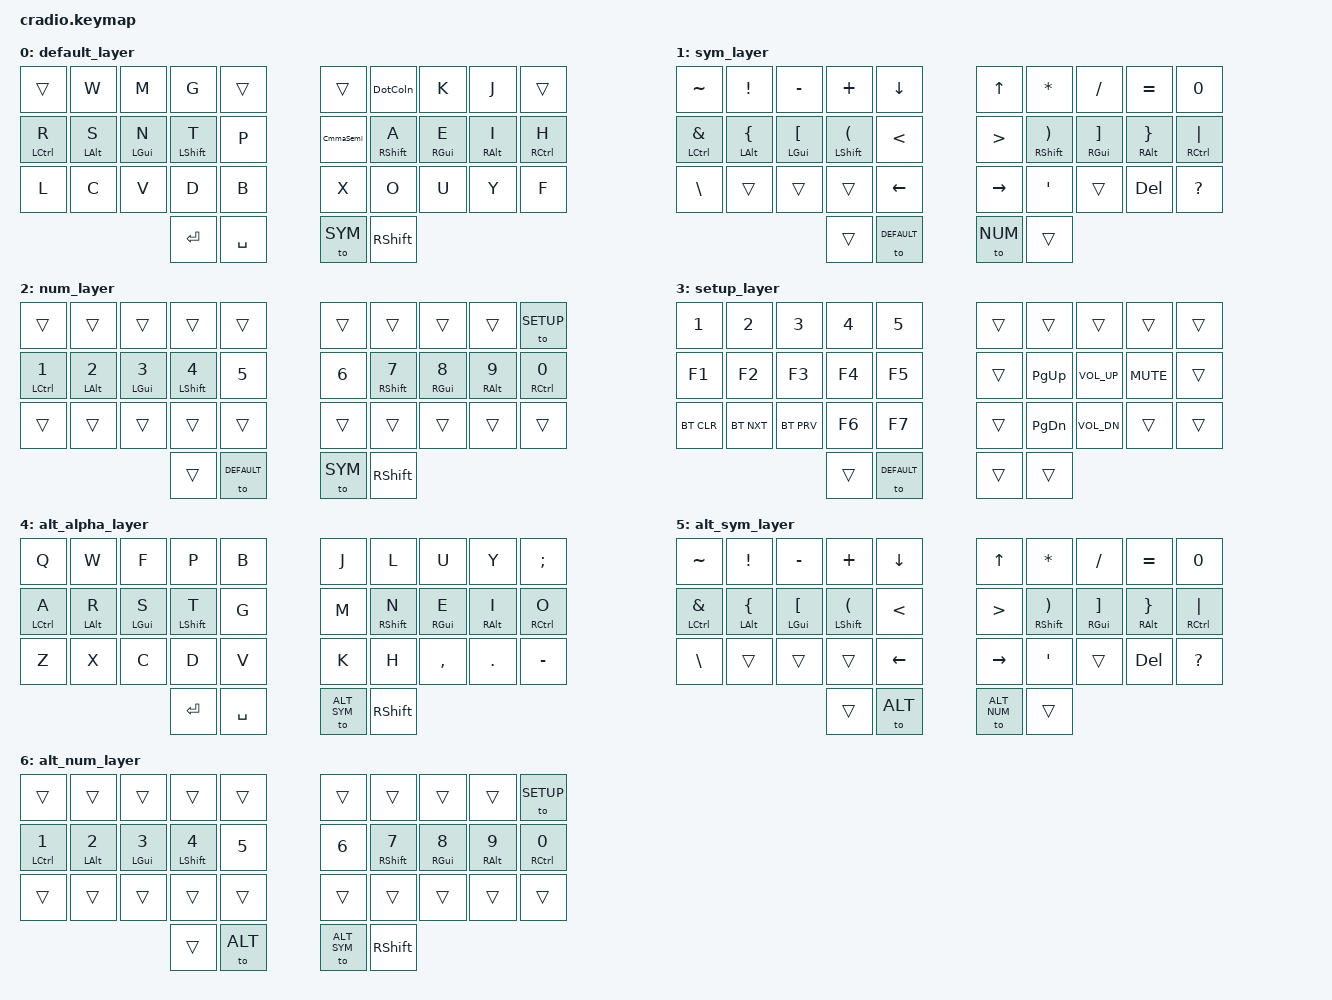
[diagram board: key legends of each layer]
/*
 * Copyright (c) 2020 The ZMK Contributors
 *
 * SPDX-License-Identifier: MIT
 */

#include <behaviors.dtsi>
#include <dt-bindings/zmk/keys.h>
#include <dt-bindings/zmk/bt.h>

#include "../helper.h"
#include "../keypos_34keys.h"

#define QUICK_TAP_MS 175

#define DEFAULT 0
#define SYM 1
#define NUM 2
#define SETUP 3
#define ALT 4
#define ALT_SYM 5
#define ALT_NUM 6

&mt {
    flavor = "tap-preferred";
    tapping_term_ms = <230>;
};

#include "my_behaviors.dtsi"

/ { 

	#include "my_macros.dtsi"
	#include "my_combos.dtsi"

    keymap {
        compatible = "zmk,keymap";
                
       	default_layer {
			bindings = <
				&trans &kp W &kp M &kp G &trans 						       &trans &DotColn  &kp K    &kp J   &trans
				&hml LCTRL R &hml LALT S &hml LGUI N &hmls LSHFT T &kp P 			   &CmmaSemi &hmrs RSHFT A &hmr RGUI E &hmr RALT I &hmr RCTRL H
				&kp L &kp C &kp V &kp D &kp B				               &kp X &kp O  &kp U &kp Y &kp F
								&kp RET &kp SPACE  				&to SYM &kp RSHIFT  
			>;
		};

		sym_layer {
			bindings = <
				&kp TILDE   &kp EXCL    &kp MINUS   &kp PLUS    &kp DOWN		       &kp UP &kp STAR &kp FSLH &kp EQUAL &kp NUM_0 
				&hml LCTRL AMPS &hml LALT LBRC &hml LGUI LBKT &hmls LSHFT LPAR &kp LT 			   &kp GT &hmrs RSHFT RPAR &hmr RGUI RBKT &hmr RALT RBRC &hmr RCTRL PIPE
				&kp BSLH    &trans 	&trans &trans  &kp LEFT 	                       &kp RIGHT &kp APOS &trans &kp DEL &kp QMARK 
												&trans &to DEFAULT                    &to NUM &trans 
			>;
		};
		
		num_layer {
			bindings = <
				&trans  &trans &trans  &trans  &trans    			&trans  &trans &trans &trans &to SETUP 
				&hml LCTRL N1  &hml LALT N2 &hml LGUI N3 &hmls LSHFT N4 &kp N5 		&kp N6 &hmrs RSHFT N7 &hmr RGUI N8 &hmr RALT N9 &hmr RCTRL N0
				&trans  &trans &trans &trans   &trans    			&trans &trans &trans &trans  &trans
											&trans &to DEFAULT   				&to SYM &kp RSHIFT   
			>;
		};	
		
		setup_layer {
			bindings = <
				&kp NUM_1  &kp NUM_2    &kp NUM_3    &kp NUM_4    &kp NUM_5 			&trans &trans   &trans   &trans  &trans
				&kp F1 &kp F2 &kp F3 &kp F4 &kp F5  						&trans &kp PG_UP  &kp K_VOL_UP &kp K_MUTE &trans 
				&bt BT_CLR  &bt BT_NXT &bt BT_PRV &kp F6 &kp F7   				&trans &kp PG_DN  &kp K_VOL_DN  &trans &trans   
											&trans &to DEFAULT  					&trans &trans 
			>;
		};	
        
       	alt_alpha_layer {
			bindings = <
				&kp Q &kp W &kp F &kp P &kp B 						       &kp J &kp L  &kp U    &kp Y   &kp SEMI
				&hml LCTRL A &hml LALT R &hml LGUI S &hmls LSHFT T &kp G 			   &kp M &hmrs RSHFT N &hmr RGUI E &hmr RALT I &hmr RCTRL O
				&kp Z &kp X &kp C &kp D &kp V				               &kp K &kp H  &kp CMMA &kp DOT &kp MINUS
								&kp RET &kp SPACE  				&to ALT_SYM &kp RSHIFT  
			>;
		};

		alt_sym_layer {
			bindings = <
				&kp TILDE   &kp EXCL    &kp MINUS   &kp PLUS    &kp DOWN		       &kp UP &kp STAR &kp FSLH &kp EQUAL &kp NUM_0 
				&hml LCTRL AMPS &hml LALT LBRC &hml LGUI LBKT &hmls LSHFT LPAR &kp LT 			   &kp GT &hmrs RSHFT RPAR &hmr RGUI RBKT &hmr RALT RBRC &hmr RCTRL PIPE
				&kp BSLH    &trans 	&trans &trans  &kp LEFT 	                       &kp RIGHT &kp APOS &trans &kp DEL &kp QMARK 
												&trans &to ALT                    &to ALT_NUM &trans 
			>;
		};

		alt_num_layer {
			bindings = <
				&trans  &trans &trans  &trans  &trans    			&trans  &trans &trans &trans &to SETUP 
				&hml LCTRL N1  &hml LALT N2 &hml LGUI N3 &hmls LSHFT N4 &kp N5 		&kp N6 &hmrs RSHFT N7 &hmr RGUI N8 &hmr RALT N9 &hmr RCTRL N0
				&trans  &trans &trans &trans   &trans    			&trans &trans &trans &trans  &trans
											&trans &to ALT   				&to ALT_SYM &kp RSHIFT   
			>;
		};	
	};
};
